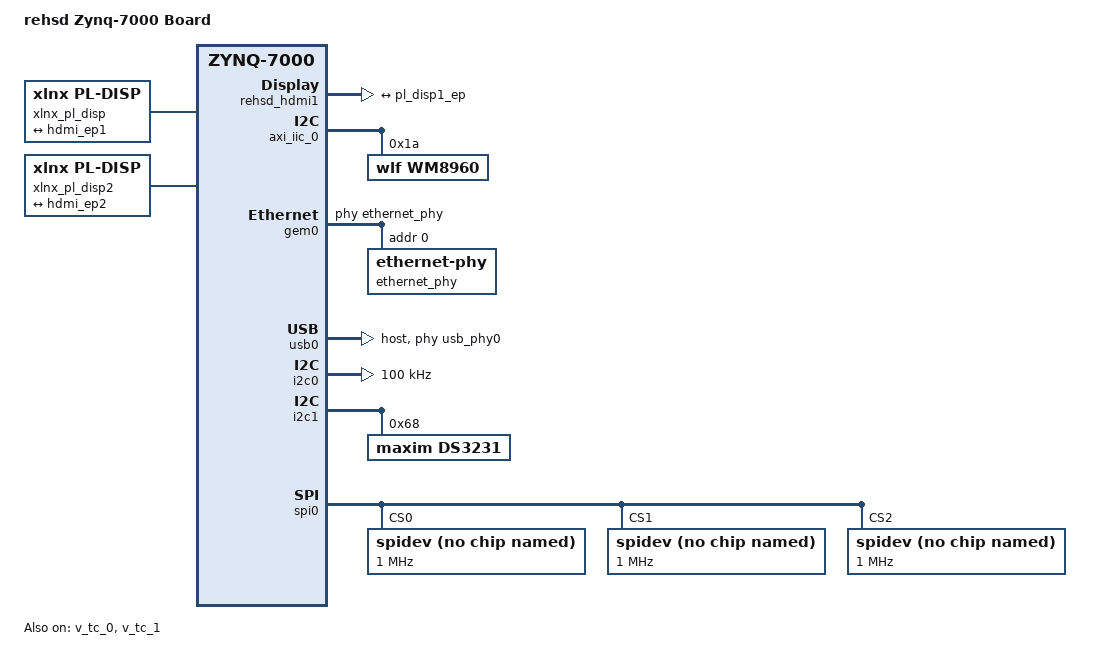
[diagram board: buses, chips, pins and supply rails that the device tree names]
/include/ "system-conf.dtsi"
#include <dt-bindings/gpio/gpio.h>
/ {
	model = "rehsd Zynq-7000 Board";
	compatible = "rehsd,zynq-7000", "xlnx,zynq-7000";
	
	/*
	// Not having luck with these types of reservations. CMA is at 0x3000_0000, 256MB.
	// These reservations are outside of CMA (they shouldn't overlap).
	reserved-memory {
		#address-cells = <1>;		// 32-bit addressing = 1
		#size-cells = <1>;		// 32-bit addressing = 1
		ranges;
    		
		vdma0_buffer: buffer@24000000 {
		compatible = "shared-dma-pool";
		reg = <0x24000000 0x02000000>; // 32 MB for VDMA1
		no-map;
		};
		vdma0_buffer2: buffer@26000000 {
		compatible = "shared-dma-pool";
		reg = <0x26000000 0x02000000>; // 32 MB for VDMA1
		no-map;
		};
		
		vdma1_buffer: buffer@20000000 {
		compatible = "shared-dma-pool";
		reg = <0x20000000 0x02000000>; // 32 MB for VDMA2
		no-map;
		};
		vdma1_buffer2: buffer@22000000 {
		compatible = "shared-dma-pool";
		reg = <0x22000000 0x02000000>; // 32 MB for VDMA2
		no-map;
		};
	};
	*/

	chosen {
		bootargs = "console=ttyPS0,115200 earlyprintk root=/dev/mmcblk0p2 rw rootwait uio_pdrv_genirq.of_id=generic-uio cma=512M video=HDMI-A-1:1280x720M-32@60 video=HDMI-A-2:1280x720M-32@60 fbcon=map:0";
		
		//cma=256M@0x30000000 (currently configured in petalinux-config; bootargs should override)
		//video=HDMI-A-1:1280x720M-32@60 video=HDMI-A-2:1280x720M-32@60 video=VGA-1:1024x768M-16@30 fbcon=map:0
	};
	
	usb_phy0: usb_phy@0 {
		compatible = "ulpi-phy";
		#phy-cells = <0>;
		reg = <0xe0002000 0x1000>;
		view-port = <0x0170>;
		reset-gpios = <&gpio0 46 1>;
		drv-vbus;
	};

	clk_hdmi_720p: clk_hdmi_720p {
		clock-output-names = "pxl_clk", "pxl_clk_x5";
		#clock-cells = <0>;
		status = "okay";
	};
};


&amba_pl {
	/*
	digilent_hdmi {
		compatible = "digilent,hdmi";
		clocks = <&axi_dynclk_0>;
		clk = "axi_dynclk_0";
		clock-names = "clk";
		status = "disabled";
		digilent,edid-i2c = <&i2c0>;
		digilent,fmax = <150000>;
		digilent,hmax = <1920>;
		digilent,vmax = <1080>;
		digilent,hpref = <1280>;
		digilent,vpref = <720>;
		port@0 { 
			hdmi_ep: endpoint { 
				remote-endpoint = <&pl_disp_ep>; 
			}; 
		}; 
	};
	*/

	rehsd_hdmi1 {
		compatible = "rehsd,hdmi";
		//clocks = <&clk_hdmi_720p 0>, <&clk_hdmi_720p 1>;
		//clock-names = "pxl_clk", "pxl_clk_x5";
		status = "okay";
		digilent,edid-i2c = <&i2c0>;
		port@0 { 
			hdmi_ep1: endpoint { 
				remote-endpoint = <&pl_disp1_ep>; 
			}; 
		}; 
	};
	rehsd_hdmi2 {
		compatible = "rehsd,hdmi";
		clocks = <&axi_dynclk_1>;
		clk = "axi_dynclk_1";
		clock-names = "clk";
		status = "disabled";
		port@0 { 
			hdmi_ep2: endpoint { 
				remote-endpoint = <&pl_disp2_ep>; 
			}; 
		}; 
	};
	xlnx_pl_disp {
		compatible = "xlnx,pl-disp";
		device-id = <0xaa01>;
		dmas = <&axi_vdma_0 0>; 	
		dma-names = "dma0"; 
		xlnx,vformat = "XR24";
		xlnx,bridge = <&v_tc_0>; 
		status = "okay";
		port@0 { 
			pl_disp1_ep: endpoint { 
				remote-endpoint = <&hdmi_ep1>; 
			}; 
		};
	};

	xlnx_pl_disp2 {
		compatible = "xlnx,pl-disp";
		device-id = <0xaa02>;
		dmas = <&axi_vdma_1 0>; 	
		dma-names = "dma0"; 
		xlnx,vformat = "XR24";
		xlnx,bridge = <&v_tc_1>; 
		status = "okay";
		port@0 { 
			pl_disp2_ep: endpoint { 
				remote-endpoint = <&hdmi_ep2>; 
			}; 
		};
	};
	


	
	axi_iic_0: i2c@81600000 {
		interrupts = < 0 36 4 >;
		xlnx,iic-freq-khz = <100>;
		compatible = "xlnx,axi-iic-2.1" , "xlnx,xps-iic-2.00.a";
		xlnx,scl-inertial-delay = <0>;
		interrupt-parent = <&intc>;
		xlnx,rable = <0>;
		xlnx,ip-name = "axi_iic";
		xlnx,disable-setup-violation-check = <0>;
		reg = <0x81600000 0x10000>;
		clocks = <&misc_clk_1>;
		xlnx,gpo-width = <1>;
		xlnx,edk-iptype = "PERIPHERAL";
		xlnx,static-timing-reg-width = <0>;
		xlnx,sda-level = <1>;
		status = "okay";
		clock-names = "s_axi_aclk";
		xlnx,ten-bit-adr = <0>;
		xlnx,default-value = <0x0>;
		interrupt-names = "iic2intc_irpt";
		xlnx,iic-board-interface = "Custom";
		xlnx,timing-reg-width = <32>;
		xlnx,iic-freq = <100000>;
		xlnx,smbus-pmbus-host = <0>;
		xlnx,name = "axi_iic_0";
		xlnx,axi-aclk-freq-mhz = <48>;
		xlnx,sda-inertial-delay = <0>;
		wm8960: wm8960@1a {
			#sound-dai-cells = <0>;   // only single DAI
			compatible = "wlf,wm8960";
			clock-names ="mclk";
			clocks =<&misc_clk_0>;
			assigned-clocks = <&misc_clk_0>;
			assigned-clock-rates = <24000000>;
			reg = <0x1a>;		//wm8960 datasheet lists 0x34. the reg value is shifted left by one. 0x1A << 1 = 0x34
		};
	};	
	audio_formatter_0: audio_formatter@83c00000 {
		audio-codec = <&wm8960>;
		#sound-dai-cells = <0>;
		status = "okay";
	}; 
	i2s_receiver_0: i2s_receiver@83c10000 {
		audio-codec = <&wm8960>;
		#sound-dai-cells = <0>;
	};
	i2s_transmitter_0: i2s_transmitter@83c20000 {
		audio-codec = <&wm8960>;
		#sound-dai-cells = <0>;
	};
};


&axi_vdma_0 {
	compatible = "xlnx,axi-vdma-6.3" , "xlnx,axi-vdma-1.00.a";
	//memory-region = <&vdma0_buffer &vdma0_buffer2>; 
	device-id = <0xaa03>;
	reg = < 0x43000000 0x10000 >;
	dma-ranges = <0x00000000 0x00000000 0x40000000>;
	xlnx,num-fstores = <0x2>;
	status = "okay";
	xlnx,vsize = <720>;
    xlnx,hsize = <5120>;
    xlnx,stride = <5120>;
	interrupts = < 0 30 4 0 52 4 >;
	dma_channel_43000000: dma-channel@43000000 {
		interrupts = < 0 30 4 >;
		xlnx,datawidth = <0x20>;
		xlnx,device-id = <0x0>;
		compatible = "xlnx,axi-vdma-mm2s-channel";
	};
	dma_channel_43000030: dma-channel@43000030 {
		interrupts = < 0 52 4 >;
		xlnx,datawidth = <0x20>;
		xlnx,device-id = <0x0>;
		compatible = "xlnx,axi-vdma-s2mm-channel";
		xlnx,genlock-mode;
	};
};
&axi_vdma_1 {
	compatible = "xlnx,axi-vdma-6.3" , "xlnx,axi-vdma-1.00.a";
    //memory-region = <&vdma1_buffer &vdma1_buffer2>;
    device-id = <0xaa04>;
    reg = <0x43010000 0x10000>;
	dma-ranges = <0x00000000 0x00000000 0x40000000>;
	xlnx,num-fstores = <2>;                  // 2 frame buffers
    status = "okay";
    xlnx,vsize = <720>;                    // Vertical size: 720 lines
    xlnx,hsize = <5120>;                   // Horizontal size: 5120 bytes (1280*4B)
    xlnx,stride = <5120>;                  // Stride: : 5120 bytes (1280*4B)
	interrupts = < 0 53 4 0 54 4 >;
	dma_channel_43010000: dma-channel@43010000 {
		interrupts = < 0 53 4 >;
		xlnx,datawidth = <0x20>;
		xlnx,device-id = <0x1>;
		compatible = "xlnx,axi-vdma-mm2s-channel";
	};
	dma_channel_43010030: dma-channel@43010030 {
		interrupts = < 0 54 4 >;
		xlnx,datawidth = <0x20>;
		xlnx,device-id = <0x1>;
		compatible = "xlnx,axi-vdma-s2mm-channel";
		xlnx,genlock-mode;
	};
};
/*
&axi_dynclk_0 {
	#clock-cells = <0>;
	compatible = "dglnt,axi-dynclk";
	xlnx,krefclkfreqhz = <100000000>;
	xlnx,kversionminor = <2>;
	xlnx,rable = <0>;
	xlnx,ip-name = "axi_dynclk";
	reg = <0x43c10000 0x10000>;
	clocks = <&clkc 15>, <&clkc 15>;
	xlnx,kversionmajor = <1>;
	xlnx,edk-iptype = "PERIPHERAL";
	status = "okay";
	clock-names = "REF_CLK_I" , "s_axi_lite_aclk";
	xlnx,name = "axi_dynclk_0";
	clock-output-names = "PXL_CLK_O_0", "PXL_CLK_5X_O_0";
};
*/


&axi_dynclk_1 {
	#clock-cells = <0>;
	compatible = "dglnt,axi-dynclk2";
	xlnx,krefclkfreqhz = <100000000>;
	xlnx,kversionminor = <2>;
	xlnx,rable = <0>;
	xlnx,ip-name = "axi_dynclk";
	reg = <0x40000000 0x10000>;
	clocks = <&clkc 15>, <&clkc 15>;
	xlnx,kversionmajor = <1>;
	xlnx,edk-iptype = "PERIPHERAL";
	status = "okay";
	clock-names = "REF_CLK_I" , "s_axi_lite_aclk";
	xlnx,name = "axi_dynclk_1";
	clock-output-names = "PXL_CLK_O_1", "PXL_CLK_5X_O_1";
};
&v_tc_0 {
	compatible = "xlnx,v-tc-6.2" , "xlnx,v-tc-6.1" , "xlnx,bridge-v-tc-6.1";
	xlnx,pixels-per-clock = <1>; 
	reg = <0x43c40000 0x10000>;
	status = "okay";
};
&v_tc_1 {
	compatible = "xlnx,v-tc-6.2" , "xlnx,v-tc-6.1" , "xlnx,bridge-v-tc-6.1";
	xlnx,pixels-per-clock = <1>; 
	reg = <0x43c20000 0x10000>;
	status = "okay";
};
&axi_gpio_hdmi {
	compatible = "generic-uio";	
};

&gem0 {
        phy-handle = <&ethernet_phy>;
        ethernet_phy: ethernet-phy@0 {
                device_type = "ethernet-phy";
                reg = <0>;
                /* dt-bindings/phy/realtek.h */
                /* #define REALTEK_LED_LINK10              BIT(0)
                   #define REALTEK_LED_LINK100             BIT(1)
                   #define REALTEK_LED_LINK1000            BIT(3)
                   #define REALTEK_LED_ACT                 BIT(4)
                   #define REALTEK_LED_DEFAULT             BIT(7)
                */
                /* LED0=10+A, LED1=100+A, LED2=1000+A */
                realtek,leds-config = <0x11 0x12 0x18>;
        };
};
&usb0 {
   	status = "okay";
   	dr_mode = "host";
   	usb-phy = <&usb_phy0>;

	
	/* HID (Human Interface Device) for mouse */
	/* mouse@1 {
	    compatible = "usb-mouse";
	    status = "okay";
	};
	*/

	/*
	usb2vga {
		compatible = "sis,sisfb";	// sisusb (x), sisfb (x), sisusbvga, sis ?
		vendor_id = <0x0711>;
		product_id = <0x0900>;
		status = "okay"; 
		framebuffer {
			label = "fb1"; 
			compatible = "linux,fb"; 
			linux,fb_base = <0x0>; 
		};
	};
	*/
};
&i2c0 {
    	clock-frequency = <100000>;
    	status = "okay";
};
&i2c1 {
	status = "okay";
	ds3231: rtc@68 {
		compatible = "maxim,ds3231";
		reg = <0x68>;
	};
};
&spi0 {
	is-decoded-cs = <0>;
	num-cs = <3>;
	bus-num = <0>;
	status = "okay";
	spidev@0x00 {
		//compatible = "spidev";
		//see https://www.hackster.io/whitney-knitter/spidev-tutorial-for-zynq-7000-fpga-devices-b5e399
		//see https://stackoverflow.com/questions/53634892/linux-spidev-why-it-shouldnt-be-directly-in-devicetree
		compatible = "rohm,dh2228fv";
		spi-max-frequency = <1000000>;    //max of 25 Mhz
		reg = <0>;
		
		//SPI mode
		spi-cpol = <0>;
		spi-cpha = <0>;
	};
	spidev@0x01 {
		compatible = "spidev";
		spi-max-frequency = <1000000>;
		reg = <1>;
	};
	spidev@0x02 {
		compatible = "spidev";
		spi-max-frequency = <1000000>;
		reg = <2>;
	};
};
